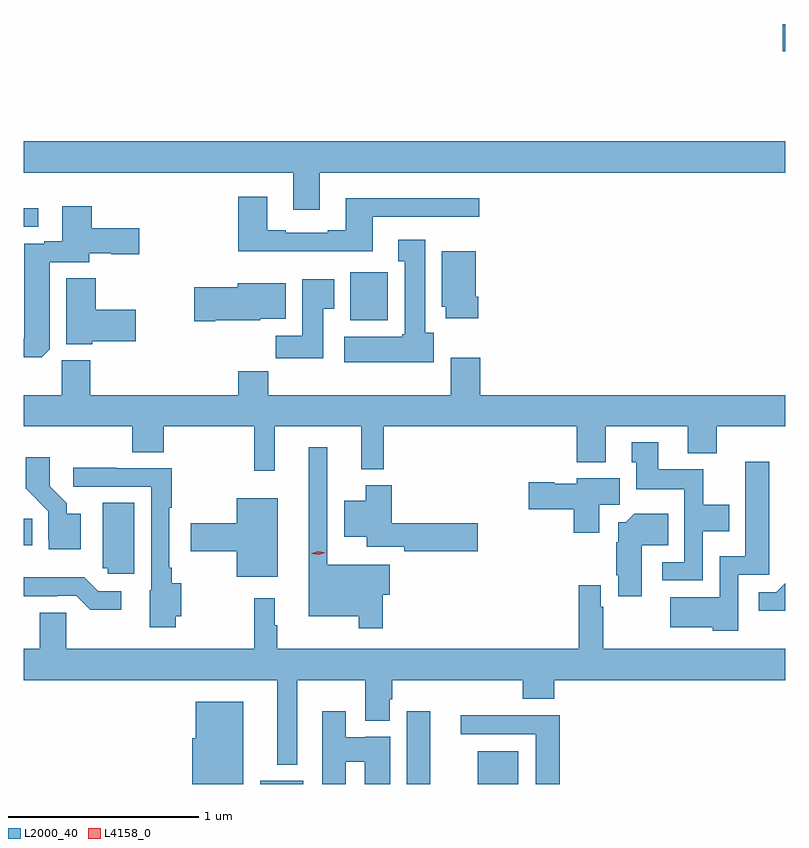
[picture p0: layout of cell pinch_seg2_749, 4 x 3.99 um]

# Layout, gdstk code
import gdstk
lib = gdstk.Library(unit=1e-6, precision=1e-09)
def R(c, l, rs):  # rectangles x0, y0, x1, y1
    for r in rs: c.add(gdstk.rectangle(r[:2], r[2:], *l))
def P(c, l, *ps):  # polygons
    for p in ps: c.add(gdstk.Polygon(p, *l))
L2000_40 = (2000, 40)
L4158_0 = (4158, 0)

pinch_seg2_749 = lib.new_cell('pinch_seg2_749')
R(pinch_seg2_749, L2000_40, [(675.635,647.09,675.862,647.107), (676.406,647.09,676.528,647.473), (676.778,647.09,676.99,647.263), (674.393,648.344,674.438,648.482), (676.109,649.526,676.305,649.777), (674.393,650.016,674.47,650.112), (678.378,650.938,678.393,651.08)])
P(pinch_seg2_749, L2000_40, [(675.949,650.3),(678.393,650.3),(678.393,650.464),(674.393,650.464),(674.393,650.3),(675.809,650.3),(675.809,650.106),(675.949,650.106)],
  [(676.225,650.067),(676.786,650.067),(676.786,650.164),(676.085,650.164),(676.085,649.996),(675.989,649.996),(675.989,649.983),(675.769,649.983),(675.769,649.996),(675.673,649.996),(675.673,650.173),(675.521,650.173),(675.521,649.886),(676.225,649.886)],
  [(674.53,649.372),(674.53,649.83),(674.737,649.83),(674.737,649.877),(674.854,649.877),(674.854,649.87),(675.001,649.87),(675.001,650.007),(674.75,650.007),(674.75,650.122),(674.597,650.122),(674.597,649.939),(674.501,649.939),(674.501,649.926),(674.396,649.926),(674.396,649.428),(674.393,649.428),(674.393,649.331),(674.488,649.331)],
  [(676.546,649.458),(676.501,649.458),(676.501,649.948),(676.361,649.948),(676.361,649.835),(676.394,649.835),(676.394,649.452),(676.381,649.452),(676.381,649.438),(676.077,649.438),(676.077,649.304),(676.546,649.304)],
  [(676.781,649.648),(676.768,649.648),(676.768,649.888),(676.589,649.888),(676.589,649.596),(676.61,649.596),(676.61,649.536),(676.781,649.536)],
  [(674.754,649.415),(674.983,649.415),(674.983,649.581),(674.771,649.581),(674.771,649.745),(674.618,649.745),(674.618,649.4),(674.754,649.4)],
  [(675.967,649.585),(676.024,649.585),(676.024,649.741),(675.857,649.741),(675.857,649.444),(675.718,649.444),(675.718,649.326),(675.967,649.326)],
  [(675.4,649.526),(675.636,649.526),(675.636,649.532),(675.769,649.532),(675.769,649.72),(675.518,649.72),(675.518,649.697),(675.288,649.697),(675.288,649.519),(675.4,649.519)],
  [(675.713,648.968),(676.166,648.968),(676.166,648.743),(676.283,648.743),(676.283,648.968),(677.297,648.968),(677.297,648.779),(677.449,648.779),(677.449,648.968),(677.879,648.968),(677.879,648.827),(678.032,648.827),(678.032,648.968),(678.393,648.968),(678.393,649.132),(676.79,649.132),(676.79,649.327),(676.637,649.327),(676.637,649.132),(675.677,649.132),(675.677,649.256),(675.521,649.256),(675.521,649.132),(674.744,649.132),(674.744,649.314),(674.593,649.314),(674.593,649.132),(674.393,649.132),(674.393,648.968),(674.963,648.968),(674.963,648.832),(675.128,648.832),(675.128,648.968),(675.603,648.968),(675.603,648.735),(675.713,648.735)],
  [(677.958,648.416),(678.097,648.416),(678.097,648.556),(677.961,648.556),(677.961,648.742),(677.725,648.742),(677.725,648.883),(677.585,648.883),(677.585,648.78),(677.609,648.78),(677.609,648.638),(677.862,648.638),(677.862,648.255),(677.745,648.255),(677.745,648.159),(677.958,648.159)],
  [(676.28,648.083),(676.315,648.083),(676.315,648.241),(675.987,648.241),(675.987,648.859),(675.89,648.859),(675.89,647.972),(676.152,647.972),(676.152,647.907),(676.28,647.907)],
  [(674.692,648.508),(674.62,648.508),(674.62,648.563),(674.53,648.653),(674.53,648.805),(674.404,648.805),(674.404,648.642),(674.523,648.523),(674.523,648.372),(674.525,648.372),(674.525,648.323),(674.692,648.323)],
  [(678.144,648.189),(678.307,648.189),(678.307,648.781),(678.182,648.781),(678.182,648.286),(678.048,648.286),(678.048,648.07),(677.787,648.07),(677.787,647.912),(678.012,647.912),(678.012,647.894),(678.144,647.894)],
  [(675.192,647.972),(675.222,647.972),(675.222,648.143),(675.172,648.143),(675.172,648.226),(675.159,648.226),(675.159,648.541),(675.172,648.541),(675.172,648.747),(674.879,648.747),(674.879,648.75),(674.655,648.75),(674.655,648.651),(675.063,648.651),(675.063,648.108),(675.056,648.108),(675.056,647.912),(675.192,647.912)],
  [(677.416,648.555),(677.524,648.555),(677.524,648.694),(677.298,648.694),(677.298,648.667),(677.178,648.667),(677.178,648.675),(677.046,648.675),(677.046,648.533),(677.282,648.533),(677.282,648.408),(677.416,648.408)],
  [(676.777,648.458),(676.325,648.458),(676.325,648.658),(676.19,648.658),(676.19,648.577),(676.076,648.577),(676.076,648.389),(676.196,648.389),(676.196,648.335),(676.392,648.335),(676.392,648.311),(676.777,648.311)],
  [(675.727,648.589),(675.512,648.589),(675.512,648.458),(675.27,648.458),(675.27,648.311),(675.512,648.311),(675.512,648.179),(675.727,648.179)],
  [(674.974,648.566),(674.81,648.566),(674.81,648.222),(674.835,648.222),(674.835,648.195),(674.974,648.195)],
  [(677.638,648.344),(677.777,648.344),(677.777,648.508),(677.599,648.508),(677.554,648.463),(677.516,648.463),(677.516,648.359),(677.504,648.359),(677.504,648.187),(677.516,648.187),(677.516,648.075),(677.638,648.075)],
  [(674.905,648.102),(674.784,648.102),(674.711,648.175),(674.393,648.175),(674.393,648.075),(674.57,648.075),(674.57,648.078),(674.67,648.078),(674.743,648.005),(674.905,648.005)],
  [(678.393,648.144),(678.345,648.096),(678.252,648.096),(678.252,647.999),(678.393,647.999)],
  [(675.829,647.636),(676.187,647.636),(676.187,647.423),(676.315,647.423),(676.315,647.535),(676.328,647.535),(676.328,647.636),(677.015,647.636),(677.015,647.537),(677.18,647.537),(677.18,647.636),(678.393,647.636),(678.393,647.8),(677.437,647.8),(677.437,648.02),(677.424,648.02),(677.424,648.133),(677.308,648.133),(677.308,647.8),(675.724,647.8),(675.724,647.924),(675.712,647.924),(675.712,648.064),(675.603,648.064),(675.603,647.8),(674.616,647.8),(674.616,647.99),(674.477,647.99),(674.477,647.8),(674.393,647.8),(674.393,647.636),(675.725,647.636),(675.725,647.192),(675.829,647.192)],
  [(675.547,647.521),(675.296,647.521),(675.296,647.331),(675.278,647.331),(675.278,647.09),(675.547,647.09)],
  [(676.084,647.206),(676.184,647.206),(676.184,647.09),(676.318,647.09),(676.318,647.338),(676.188,647.338),(676.188,647.335),(676.084,647.335),(676.084,647.473),(675.962,647.473),(675.962,647.09),(676.084,647.09)],
  [(677.207,647.45),(676.689,647.45),(676.689,647.352),(677.081,647.352),(677.081,647.09),(677.207,647.09)])
P(pinch_seg2_749, L4158_0, [(675.942,648.293),(675.906,648.3),(675.906,648.301),(675.906,648.301),(675.941,648.313),(675.976,648.305),(675.977,648.305),(675.976,648.305)])

lib.write_gds('pinch_seg2_749.gds')
